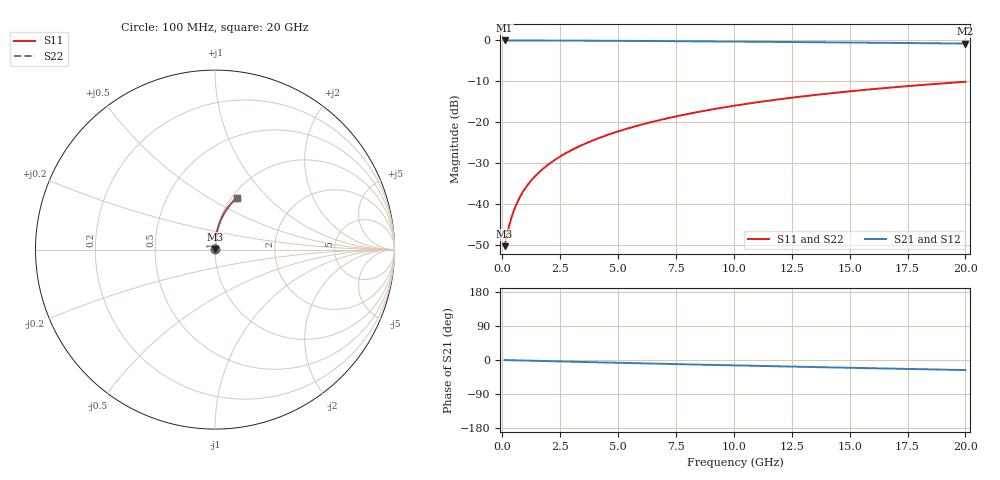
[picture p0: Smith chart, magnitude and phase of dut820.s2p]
! Touchstone file exported from HFSS 2024.1.0
!  File:  C:/UserFiles/LocalFiles/RDL_TSV_Batchsim/temp_RDL_bottom_820_1779862740.aedt
!  Generated:  02:21:36 PM May 27, 2026
!  Design:  RDL_bottom
!  Project:  temp_RDL_bottom_820_1779862740
!  Setup:  Setup1
!  Solution:  Sweep
! Variables:
!  dtsv = 10.80580581um
!  hbump = 3um
!  htsv = 68.57um
!  ldown = 301.91um
!  lrdl = 100um
!  p = 40
!  p1 = 55.92um
!  rhole = 1um
!  t = 450um
!  tdown = 2.44um
!  trdl = 3.915915916um
!  wdown = 18.8um
!  wrdl = 20um
# GHz S MA R 50.000000
! Terminal data exported
! Port[1] = RDL1_T1
! Port[2] = RDL1_T2
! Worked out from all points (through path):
!   200 points, 100 MHz to 20 GHz, reference 50 ohm
!   highest |S21| = -0.02 dB at 100 MHz (marker M1); lowest = -0.8 dB at 20 GHz (marker M2)
!   group delay of S21, straight-line fit = 3.67 ps
!   lowest |S11| = -50.3 dB at 100 MHz (marker M3), VSWR 1.01, Z = 50.3 + j0.161 ohm
!   |S11| at or under -10 dB: start of sweep to end of sweep
!   |S22| runs from -50.3 to -10.1 dB; largest |S21 - S12| = 4.1e-15
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0.1  0.003071 31.5  0.9974 -0.2  0.9974 -0.2  0.003071 31.5
! Gamma 0 0 0 0
! Port Impedance 50 0 50 0
0.3  0.00548 60.7  0.9972 -0.5  0.9972 -0.5  0.00548 60.7
0.4  0.006906 66.7  0.9971 -0.6  0.9971 -0.6  0.006907 66.7
0.5  0.008369 70.5  0.997 -0.8  0.997 -0.8  0.00837 70.5
0.6  0.009846 73.1  0.9969 -0.9  0.9969 -0.9  0.009847 73.1
0.8  0.01281 76.5  0.9967 -1.2  0.9967 -1.2  0.01281 76.5
1.1  0.01725 79.3  0.9963 -1.7  0.9963 -1.7  0.01725 79.3
1.5  0.02319 81.5  0.9958 -2.3  0.9958 -2.3  0.02319 81.5
1.8  0.02767 82.5  0.9954 -2.7  0.9954 -2.7  0.02767 82.5
2.1  0.03217 83.2  0.9949 -3.2  0.9949 -3.2  0.03217 83.2
2.7  0.04128 84.0  0.9937 -4.1  0.9937 -4.1  0.04128 84.0
3.5  0.05362 84.5  0.9917 -5.2  0.9917 -5.2  0.05362 84.5
4.2  0.06459 84.6  0.9897 -6.2  0.9897 -6.2  0.06459 84.6
5  0.07731 84.3  0.9871 -7.4  0.9871 -7.4  0.07731 84.3
5.9  0.09181 83.8  0.9838 -8.7  0.9838 -8.7  0.09181 83.8
6.8  0.1065 83.1  0.9803 -9.9  0.9803 -9.9  0.1065 83.1
8.4  0.1327 81.6  0.9736 -12.1  0.9736 -12.1  0.1327 81.6
10.1  0.1606 79.6  0.9659 -14.3  0.9659 -14.3  0.1606 79.6
11.7  0.1866 77.7  0.9582 -16.4  0.9582 -16.4  0.1866 77.6
13.4  0.2137 75.5  0.9498 -18.6  0.9498 -18.6  0.2137 75.5
16.7  0.2644 71.3  0.9325 -22.6  0.9325 -22.6  0.2644 71.3
20  0.312 67.2  0.9142 -26.5  0.9142 -26.5  0.312 67.2
